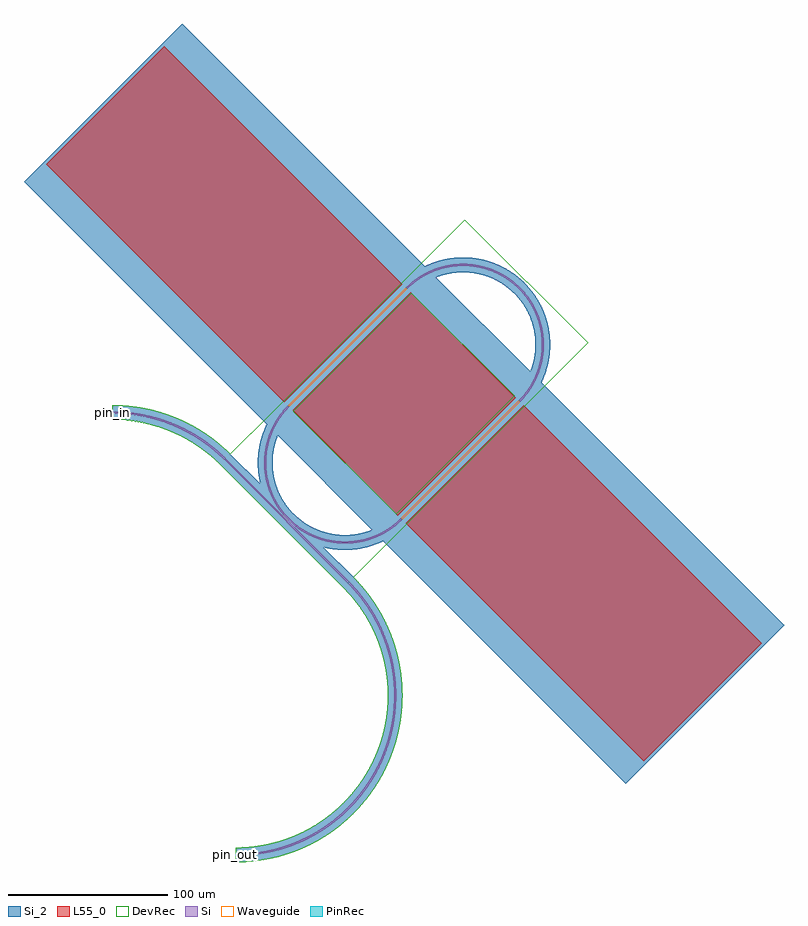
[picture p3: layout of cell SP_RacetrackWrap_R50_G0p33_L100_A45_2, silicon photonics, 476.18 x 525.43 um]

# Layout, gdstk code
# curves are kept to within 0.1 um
from math import pi, radians
import gdstk
lib = gdstk.Library(unit=1e-6, precision=1e-09)
def R(c, l, rs):  # rectangles x0, y0, x1, y1
    for r in rs: c.add(gdstk.rectangle(r[:2], r[2:], *l))
def P(c, l, *ps):  # polygons
    for p in ps: c.add(gdstk.Polygon(p, *l))
Si = (1, 0)
Si_2 = (1, 2)
PinRec = (1, 10)
Waveguide = (1, 99)
L55_0 = (55, 0)
DevRec = (68, 0)

bto_shetch_dc_halfring_s = lib.new_cell('BTO_ShEtch_dc_halfring_straight$2')
R(bto_shetch_dc_halfring_s, Si, [(-54.6,-0.6,54.6,0.6)])
P(bto_shetch_dc_halfring_s, Si, [(0,0.93),(-4.988,1.176),(-9.927,1.913),(-14.335,3.003),(-19.049,4.652),(-23.577,6.758),(-27.875,9.301),(-31.902,12.254),(-35.619,15.59),(-38.988,19.276),(-41.977,23.277),(-44.558,27.552),(-46.705,32.061),(-48.396,36.76),(-49.617,41.603),(-50.354,46.542),(-50.6,51.53),(-49.4,51.53),(-49.114,46.219),(-48.351,41.404),(-46.982,36.265),(-45.069,31.302),(-42.855,26.958),(-40.48,23.216),(-37.492,19.363),(-34.458,16.132),(-30.8,12.908),(-26.843,10.059),(-23.018,7.82),(-18.597,5.764),(-14.42,4.281),(-9.692,3.09),(-4.87,2.371),(0,2.13),(4.87,2.371),(9.692,3.09),(14.42,4.281),(18.597,5.764),(23.018,7.82),(26.843,10.059),(30.8,12.908),(34.458,16.132),(37.492,19.363),(40.48,23.216),(42.855,26.958),(45.069,31.302),(46.982,36.265),(48.351,41.404),(49.114,46.219),(49.4,51.53),(50.6,51.53),(50.354,46.542),(49.617,41.603),(48.527,37.195),(46.878,32.481),(44.772,27.953),(42.229,23.655),(39.276,19.628),(35.94,15.911),(32.254,12.542),(28.253,9.553),(23.978,6.972),(19.469,4.825),(14.77,3.134),(9.927,1.913),(4.988,1.176)])
P(bto_shetch_dc_halfring_s, Si_2, [(-54.6,-4.6),(-54.6,4.6),(-27.904,4.6),(-30.892,6.51),(-33.658,8.538),(-36.291,10.736),(-38.781,13.096),(-41.118,15.607),(-43.589,18.649),(-45.568,21.451),(-47.366,24.372),(-48.978,27.399),(-50.397,30.522),(-51.774,34.192),(-52.761,37.477),(-53.539,40.818),(-54.106,44.201),(-54.492,48.102),(-54.6,51.53),(-45.4,51.53),(-45.137,46.649),(-44.351,41.825),(-42.919,36.728),(-41.079,32.2),(-38.763,27.895),(-35.998,23.865),(-32.532,19.862),(-28.939,16.549),(-25.687,14.095),(-22.228,11.944),(-18.59,10.11),(-15.187,8.745),(-11.685,7.659),(-7.705,6.789),(-3.664,6.278),(0,6.13),(3.664,6.278),(7.705,6.789),(11.685,7.659),(15.187,8.745),(18.59,10.11),(22.228,11.944),(25.687,14.095),(28.939,16.549),(32.532,19.862),(35.998,23.865),(38.763,27.895),(41.079,32.2),(42.919,36.728),(44.351,41.825),(45.137,46.649),(45.4,51.53),(54.6,51.53),(54.492,48.102),(54.106,44.201),(53.539,40.818),(52.761,37.477),(51.774,34.192),(50.397,30.522),(48.978,27.399),(47.366,24.372),(45.568,21.451),(43.589,18.649),(41.118,15.607),(38.781,13.096),(36.291,10.736),(33.658,8.538),(30.892,6.51),(27.904,4.6),(54.6,4.6),(54.6,-4.6)])
R(bto_shetch_dc_halfring_s, DevRec, [(-54.6,-4.6,54.6,51.53)])
bto_shetch_dc_halfring_s.add(gdstk.FlexPath([(-50,51.52),(-50,51.54)], 1.2, ends="flush", simple_path=True, layer=1, datatype=10))  # PinRec
bto_shetch_dc_halfring_s.add(gdstk.FlexPath([(50,51.52),(50,51.54)], 1.2, ends="flush", simple_path=True, layer=1, datatype=10))  # PinRec
bto_shetch_dc_halfring_s.add(gdstk.FlexPath([(-54.59,0),(-54.61,0)], 1.2, ends="flush", simple_path=True, layer=1, datatype=10))  # PinRec
bto_shetch_dc_halfring_s.add(gdstk.FlexPath([(54.59,0),(54.61,0)], 1.2, ends="flush", simple_path=True, layer=1, datatype=10))  # PinRec
bto_shetch_dc_halfring_s.add(gdstk.Label('pin2', (-50,51.53), layer=1, texttype=10))
bto_shetch_dc_halfring_s.add(gdstk.Label('pin4', (50,51.53), layer=1, texttype=10))
bto_shetch_dc_halfring_s.add(gdstk.Label('pin1', (-54.6,0), layer=1, texttype=10))
bto_shetch_dc_halfring_s.add(gdstk.Label('pin3', (54.6,0), layer=1, texttype=10))

c_bto_shetch_dc_halfring_s = lib.new_cell('BTO_ShEtch_dc_halfring_straight$3')
P(c_bto_shetch_dc_halfring_s, Si, [(0,0.93),(-4.988,1.176),(-9.927,1.913),(-14.335,3.003),(-19.049,4.652),(-23.577,6.758),(-27.875,9.301),(-31.902,12.254),(-35.619,15.59),(-38.988,19.276),(-41.977,23.277),(-44.558,27.552),(-46.705,32.061),(-48.396,36.76),(-49.617,41.603),(-50.354,46.542),(-50.6,51.53),(-49.4,51.53),(-49.114,46.219),(-48.351,41.404),(-46.982,36.265),(-45.069,31.302),(-42.855,26.958),(-40.48,23.216),(-37.492,19.363),(-34.458,16.132),(-30.8,12.908),(-26.843,10.059),(-23.018,7.82),(-18.597,5.764),(-14.42,4.281),(-9.692,3.09),(-4.87,2.371),(0,2.13),(4.87,2.371),(9.692,3.09),(14.42,4.281),(18.597,5.764),(23.018,7.82),(26.843,10.059),(30.8,12.908),(34.458,16.132),(37.492,19.363),(40.48,23.216),(42.855,26.958),(45.069,31.302),(46.982,36.265),(48.351,41.404),(49.114,46.219),(49.4,51.53),(50.6,51.53),(50.354,46.542),(49.617,41.603),(48.527,37.195),(46.878,32.481),(44.772,27.953),(42.229,23.655),(39.276,19.628),(35.94,15.911),(32.254,12.542),(28.253,9.553),(23.978,6.972),(19.469,4.825),(14.77,3.134),(9.927,1.913),(4.988,1.176)])
P(c_bto_shetch_dc_halfring_s, Si_2, [(0,-3.07),(-5.382,-2.804),(-10.712,-2.009),(-15.937,-0.692),(-21.008,1.133),(-25.441,3.219),(-30.079,5.962),(-34.424,9.149),(-38.434,12.749),(-42.07,16.727),(-45.296,21.043),(-48.081,25.657),(-50.397,30.522),(-52.222,35.593),(-53.539,40.818),(-54.334,46.148),(-54.6,51.53),(-45.4,51.53),(-45.137,46.649),(-44.351,41.825),(-42.919,36.728),(-41.079,32.2),(-38.763,27.895),(-35.998,23.865),(-32.532,19.862),(-28.939,16.549),(-25.687,14.095),(-22.228,11.944),(-18.59,10.11),(-15.187,8.745),(-11.685,7.659),(-7.705,6.789),(-3.664,6.278),(0,6.13),(3.664,6.278),(7.705,6.789),(11.685,7.659),(15.187,8.745),(18.59,10.11),(22.228,11.944),(25.687,14.095),(28.939,16.549),(32.532,19.862),(35.998,23.865),(38.763,27.895),(41.079,32.2),(42.919,36.728),(44.351,41.825),(45.137,46.649),(45.4,51.53),(54.6,51.53),(54.334,46.148),(53.539,40.818),(52.222,35.593),(50.397,30.522),(48.311,26.089),(45.568,21.451),(42.381,17.106),(38.781,13.096),(34.803,9.46),(30.487,6.234),(25.873,3.449),(21.008,1.133),(15.937,-0.692),(10.712,-2.009),(5.382,-2.804)])
R(c_bto_shetch_dc_halfring_s, DevRec, [(-54.6,-4.6,54.6,51.53)])
c_bto_shetch_dc_halfring_s.add(gdstk.FlexPath([(-50,51.52),(-50,51.54)], 1.2, ends="flush", simple_path=True, layer=1, datatype=10))  # PinRec
c_bto_shetch_dc_halfring_s.add(gdstk.FlexPath([(50,51.52),(50,51.54)], 1.2, ends="flush", simple_path=True, layer=1, datatype=10))  # PinRec
c_bto_shetch_dc_halfring_s.add(gdstk.Label('pin2', (-50,51.53), layer=1, texttype=10))
c_bto_shetch_dc_halfring_s.add(gdstk.Label('pin4', (50,51.53), layer=1, texttype=10))

waveguide_10 = lib.new_cell('Waveguide$10')
R(waveguide_10, Si, [(-50.6,51.53,-49.4,156.15)])
R(waveguide_10, Si_2, [(-54.6,51.53,-45.4,156.15)])
R(waveguide_10, Waveguide, [(-50.6,51.53,-49.4,156.15)])
R(waveguide_10, DevRec, [(-54.6,51.53,-45.4,156.15)])
waveguide_10.add(gdstk.FlexPath([(-50,51.54),(-50,51.52)], 1.2, ends="flush", simple_path=True, layer=1, datatype=10))  # PinRec
waveguide_10.add(gdstk.FlexPath([(-50,156.14),(-50,156.16)], 1.2, ends="flush", simple_path=True, layer=1, datatype=10))  # PinRec
waveguide_10.add(gdstk.Label('Lumerical_INTERCONNECT_library=Design kits/EBeam', (-50.24,51.53), layer=68, texttype=0))
waveguide_10.add(gdstk.Label('Component=ebeam_wg_integral_895', (-49.76,51.53), layer=68, texttype=0))
waveguide_10.add(gdstk.Label('cellName=Waveguide', (-49.52,51.53), layer=68, texttype=0))
waveguide_10.add(gdstk.Label('Spice_param:wg_length=0.000104620 wg_width=1.2e-06 points="[[-50.0,51.53],[-50.0,156.15]]" radius=0.0001', (-50,51.53), layer=68, texttype=0))
waveguide_10.add(gdstk.Label('Length=104.620 (microns)', (-51.44,51.53), layer=68, texttype=0))
waveguide_10.add(gdstk.Label('waveguide_type=Low-loss Bend Waveguide, w=1.2um r=100um', (-50.48,51.53), layer=68, texttype=0))
waveguide_10.add(gdstk.Label('opt1', (-50,51.53), layer=1, texttype=10))
waveguide_10.add(gdstk.Label('opt2', (-50,156.15), layer=1, texttype=10))

waveguide_11 = lib.new_cell('Waveguide$11')
R(waveguide_11, Si, [(49.4,51.53,50.6,156.15)])
R(waveguide_11, Si_2, [(45.4,51.53,54.6,156.15)])
R(waveguide_11, Waveguide, [(49.4,51.53,50.6,156.15)])
R(waveguide_11, DevRec, [(45.4,51.53,54.6,156.15)])
waveguide_11.add(gdstk.FlexPath([(50,51.54),(50,51.52)], 1.2, ends="flush", simple_path=True, layer=1, datatype=10))  # PinRec
waveguide_11.add(gdstk.FlexPath([(50,156.14),(50,156.16)], 1.2, ends="flush", simple_path=True, layer=1, datatype=10))  # PinRec
waveguide_11.add(gdstk.Label('Lumerical_INTERCONNECT_library=Design kits/EBeam', (49.76,51.53), layer=68, texttype=0))
waveguide_11.add(gdstk.Label('Component=ebeam_wg_integral_895', (50.24,51.53), layer=68, texttype=0))
waveguide_11.add(gdstk.Label('cellName=Waveguide', (50.48,51.53), layer=68, texttype=0))
waveguide_11.add(gdstk.Label('Spice_param:wg_length=0.000104620 wg_width=1.2e-06 points="[[50.0,51.53],[50.0,156.15]]" radius=0.0001', (50,51.53), layer=68, texttype=0))
waveguide_11.add(gdstk.Label('Length=104.620 (microns)', (48.56,51.53), layer=68, texttype=0))
waveguide_11.add(gdstk.Label('waveguide_type=Low-loss Bend Waveguide, w=1.2um r=100um', (49.52,51.53), layer=68, texttype=0))
waveguide_11.add(gdstk.Label('opt1', (50,51.53), layer=1, texttype=10))
waveguide_11.add(gdstk.Label('opt2', (50,156.15), layer=1, texttype=10))

bto_shetch_varbend_4 = lib.new_cell('BTO_ShEtch_VarBend$4')
P(bto_shetch_varbend_4, Si, [(-70.286,70.286),(-71.135,71.135),(-70.824,71.445),(-65.134,76.668),(-58.918,81.542),(-54.422,84.609),(-49.614,87.515),(-44.809,90.07),(-39.792,92.396),(-34.902,94.352),(-30.084,95.997),(-25.358,97.352),(-20.314,98.528),(-15.13,99.456),(-9.992,100.103),(-5.002,100.476),(0,100.6),(0,99.4),(-6.068,99.215),(-11.769,98.701),(-17.431,97.86),(-23.036,96.694),(-31.293,94.346),(-39.477,91.225),(-43.808,89.226),(-47.81,87.147),(-51.862,84.798),(-55.799,82.261),(-59.682,79.489),(-63.427,76.534),(-66.962,73.461)])
P(bto_shetch_varbend_4, Si_2, [(-67.458,67.458),(-73.963,73.963),(-68.624,78.943),(-62.658,83.757),(-56.893,87.775),(-50.551,91.574),(-44.537,94.645),(-38.506,97.255),(-32.323,99.481),(-26.013,101.314),(-19.869,102.696),(-13.019,103.787),(-6.568,104.394),(0,104.6),(0,95.4),(-4.91,95.274),(-9.392,94.937),(-13.936,94.377),(-18.693,93.551),(-23.241,92.526),(-27.813,91.256),(-32.316,89.76),(-36.354,88.202),(-40.619,86.321),(-44.935,84.155),(-48.849,81.945),(-52.863,79.415),(-56.88,76.589),(-60.489,73.772),(-64.144,70.617)])
P(bto_shetch_varbend_4, DevRec, [(-67.458,67.458),(-73.963,73.963),(-68.624,78.943),(-62.658,83.757),(-56.893,87.775),(-50.551,91.574),(-44.537,94.645),(-38.506,97.255),(-32.323,99.481),(-26.013,101.314),(-19.869,102.696),(-13.019,103.787),(-6.568,104.394),(0,104.6),(0,95.4),(-4.91,95.274),(-9.392,94.937),(-13.936,94.377),(-18.693,93.551),(-23.241,92.526),(-27.813,91.256),(-32.316,89.76),(-36.354,88.202),(-40.619,86.321),(-44.935,84.155),(-48.849,81.945),(-52.863,79.415),(-56.88,76.589),(-60.489,73.772),(-64.144,70.617)])
bto_shetch_varbend_4.add(gdstk.FlexPath([(-0.01,100),(0.01,100)], 1.2, ends="flush", simple_path=True, layer=1, datatype=10))  # PinRec
bto_shetch_varbend_4.add(gdstk.FlexPath([(-70.704,70.718),(-70.718,70.704)], 1.2, ends="flush", simple_path=True, layer=1, datatype=10))  # PinRec
bto_shetch_varbend_4.add(gdstk.Label('pin1', (0,100), layer=1, texttype=10))
bto_shetch_varbend_4.add(gdstk.Label('pin2', (-70.711,70.711), layer=1, texttype=10))

bto_shetch_varbend_5 = lib.new_cell('BTO_ShEtch_VarBend$5')
P(bto_shetch_varbend_5, Si, [(-0.263,-100.6),(-5.44,-100.453),(-10.516,-100.049),(-15.564,-99.389),(-20.314,-98.528),(-25.358,-97.352),(-30.084,-95.997),(-34.902,-94.352),(-39.792,-92.396),(-44.809,-90.07),(-49.614,-87.515),(-54.422,-84.609),(-58.918,-81.542),(-65.134,-76.668),(-70.824,-71.445),(-71.135,-71.135),(-70.286,-70.286),(-64.819,-75.359),(-59.195,-79.852),(-53.188,-83.973),(-46.972,-87.602),(-40.35,-90.842),(-33.344,-93.641),(-26.313,-95.854),(-19.222,-97.524),(-12.028,-98.67),(-4.769,-99.286),(2.689,-99.364),(9.872,-98.909),(17.261,-97.89),(24.468,-96.342),(31.293,-94.346),(37.959,-91.867),(44.43,-88.918),(50.897,-85.381),(57.085,-81.374),(62.622,-77.194),(67.981,-72.519),(73.227,-67.218),(78.061,-61.538),(82.163,-55.943),(85.822,-50.15),(89.034,-44.197),(91.867,-37.959),(94.346,-31.293),(96.572,-23.542),(98.163,-15.635),(99.094,-7.799),(99.4,0),(100.6,0),(100.476,-5.002),(100.103,-9.992),(99.495,-14.87),(98.633,-19.798),(97.505,-24.763),(96.179,-29.497),(94.653,-34.077),(92.909,-38.579),(90.876,-43.151),(88.701,-47.461),(86.276,-51.738),(83.695,-55.817),(80.816,-59.91),(77.793,-63.786),(74.702,-67.38),(71.011,-71.259),(67.38,-74.702),(63.786,-77.793),(59.91,-80.816),(55.817,-83.695),(51.738,-86.276),(47.229,-88.825),(42.833,-91.026),(38.417,-92.976),(33.581,-94.83),(28.993,-96.332),(24.337,-97.612),(19.282,-98.735),(14.609,-99.534),(9.467,-100.154),(5.002,-100.476)])
P(bto_shetch_varbend_5, Si_2, [(-0.274,-104.6),(-6.568,-104.394),(-13.381,-103.741),(-19.869,-102.696),(-26.013,-101.314),(-32.323,-99.481),(-38.506,-97.255),(-44.537,-94.645),(-50.551,-91.574),(-56.893,-87.775),(-62.658,-83.757),(-68.624,-78.943),(-73.963,-73.963),(-67.458,-67.458),(-62.651,-71.945),(-57.08,-76.44),(-51.329,-80.415),(-45.448,-83.879),(-39.334,-86.914),(-33.098,-89.475),(-26.696,-91.589),(-19.753,-93.333),(-12.865,-94.529),(-5.99,-95.212),(0.916,-95.396),(7.651,-95.093),(14.513,-94.29),(21.379,-92.974),(28.211,-91.134),(34.577,-88.914),(40.393,-86.427),(46.251,-83.439),(51.819,-80.1),(56.88,-76.589),(61.831,-72.651),(66.51,-68.393),(70.952,-63.773),(74.868,-59.127),(79.461,-52.794),(83.56,-46.032),(87.22,-38.651),(90.094,-31.374),(92.424,-23.644),(94.092,-15.746),(95.093,-7.651),(95.4,0),(104.6,0),(104.48,-5.019),(104.11,-10.116),(103.465,-15.371),(102.626,-20.227),(101.471,-25.394),(100.136,-30.233),(98.509,-35.174),(96.638,-40.029),(94.489,-44.867),(92.098,-49.59),(89.707,-53.795),(86.972,-58.113),(84.138,-62.145),(80.944,-66.252),(77.611,-70.127),(73.899,-74.028),(70.127,-77.611),(66.252,-80.944),(62.072,-84.192),(57.885,-87.124),(53.403,-89.941),(48.865,-92.485),(44.454,-94.684),(39.86,-96.708),(35.174,-98.509),(30.233,-100.136),(25.394,-101.471),(20.227,-102.626),(15.371,-103.465),(10.116,-104.11),(5.019,-104.48)])
P(bto_shetch_varbend_5, DevRec, [(-0.274,-104.6),(-6.568,-104.394),(-13.381,-103.741),(-19.869,-102.696),(-26.013,-101.314),(-32.323,-99.481),(-38.506,-97.255),(-44.537,-94.645),(-50.551,-91.574),(-56.893,-87.775),(-62.658,-83.757),(-68.624,-78.943),(-73.963,-73.963),(-67.458,-67.458),(-62.651,-71.945),(-57.08,-76.44),(-51.329,-80.415),(-45.448,-83.879),(-39.334,-86.914),(-33.098,-89.475),(-26.696,-91.589),(-19.753,-93.333),(-12.865,-94.529),(-5.99,-95.212),(0.916,-95.396),(7.651,-95.093),(14.513,-94.29),(21.379,-92.974),(28.211,-91.134),(34.577,-88.914),(40.393,-86.427),(46.251,-83.439),(51.819,-80.1),(56.88,-76.589),(61.831,-72.651),(66.51,-68.393),(70.952,-63.773),(74.868,-59.127),(79.461,-52.794),(83.56,-46.032),(87.22,-38.651),(90.094,-31.374),(92.424,-23.644),(94.092,-15.746),(95.093,-7.651),(95.4,0),(104.6,0),(104.48,-5.019),(104.11,-10.116),(103.465,-15.371),(102.626,-20.227),(101.471,-25.394),(100.136,-30.233),(98.509,-35.174),(96.638,-40.029),(94.489,-44.867),(92.098,-49.59),(89.707,-53.795),(86.972,-58.113),(84.138,-62.145),(80.944,-66.252),(77.611,-70.127),(73.899,-74.028),(70.127,-77.611),(66.252,-80.944),(62.072,-84.192),(57.885,-87.124),(53.403,-89.941),(48.865,-92.485),(44.454,-94.684),(39.86,-96.708),(35.174,-98.509),(30.233,-100.136),(25.394,-101.471),(20.227,-102.626),(15.371,-103.465),(10.116,-104.11),(5.019,-104.48)])
bto_shetch_varbend_5.add(gdstk.FlexPath([(100,-0.01),(100,0.01)], 1.2, ends="flush", simple_path=True, layer=1, datatype=10))  # PinRec
bto_shetch_varbend_5.add(gdstk.FlexPath([(-70.704,-70.718),(-70.718,-70.704)], 1.2, ends="flush", simple_path=True, layer=1, datatype=10))  # PinRec
bto_shetch_varbend_5.add(gdstk.Label('pin1', (100,0), layer=1, texttype=10))
bto_shetch_varbend_5.add(gdstk.Label('pin2', (-70.711,-70.711), layer=1, texttype=10))

sp_racetrackcore_r50_g0p = lib.new_cell('SP_RacetrackCore_R50_G0p33_L100_A45')
R(sp_racetrackcore_r50_g0p, Si_2, [(-266.61,33.739,266.61,173.94)])
R(sp_racetrackcore_r50_g0p, L55_0, [(-264.61,51.539,-53.71,156.14), (-46.31,51.539,46.91,156.14), (53.71,51.539,264.61,156.14)])
sp_racetrackcore_r50_g0p.add(gdstk.Reference(bto_shetch_dc_halfring_s, (0,0)))
sp_racetrackcore_r50_g0p.add(gdstk.Reference(c_bto_shetch_dc_halfring_s, (0,207.68), rotation=pi))
sp_racetrackcore_r50_g0p.add(gdstk.Reference(waveguide_10, (0,0)))
sp_racetrackcore_r50_g0p.add(gdstk.Reference(waveguide_11, (0,0)))
sp_racetrackcore_r50_g0p.add(gdstk.Reference(bto_shetch_varbend_4, (-54.6,-100)))
sp_racetrackcore_r50_g0p.add(gdstk.Reference(bto_shetch_varbend_5, (54.6,-100), rotation=pi/2))

sp_racetrackwrap_r50_g0p = lib.new_cell('SP_RacetrackWrap_R50_G0p33_L100_A45_2')
sp_racetrackwrap_r50_g0p.add(gdstk.FlexPath([(-109.309,67.898),(-109.329,67.898)], 0, ends="flush", simple_path=True, layer=1, datatype=10))  # PinRec
sp_racetrackwrap_r50_g0p.add(gdstk.FlexPath([(-32.093,-209.319),(-32.113,-209.319)], 0, ends="flush", simple_path=True, layer=1, datatype=10))  # PinRec
sp_racetrackwrap_r50_g0p.add(gdstk.Reference(sp_racetrackcore_r50_g0p, (0,0), rotation=radians(315)))
sp_racetrackwrap_r50_g0p.add(gdstk.Label('pin_in', (-109.319,67.898), layer=1, texttype=10))
sp_racetrackwrap_r50_g0p.add(gdstk.Label('pin_out', (-32.103,-209.319), layer=1, texttype=10))

lib.write_gds('SP_RacetrackWrap_R50_G0p33_L100_A45_2.gds')
